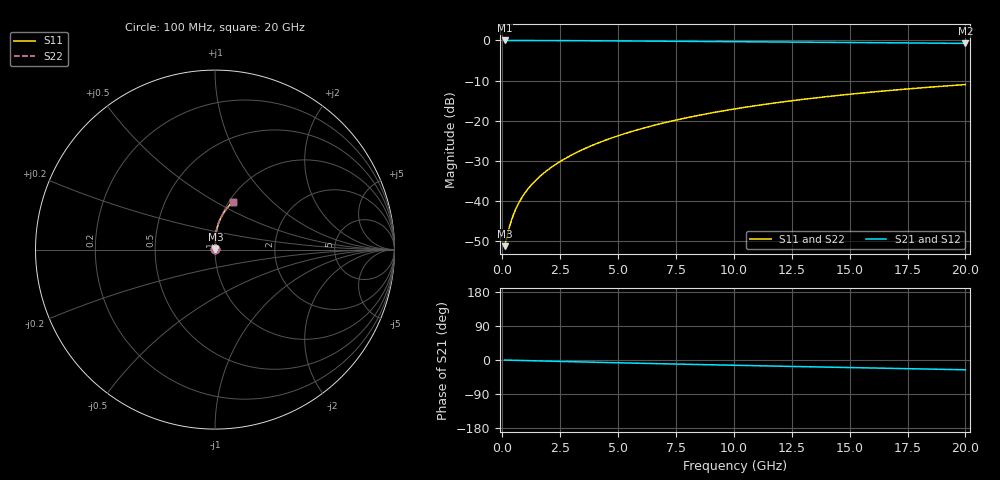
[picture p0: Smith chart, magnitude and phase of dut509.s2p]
! Touchstone file exported from HFSS 2024.1.0
!  File:  C:/UserFiles/LocalFiles/RDL_TSV_Batchsim/temp_RDL_top_509_1779679371.aedt
!  Generated:  11:25:21 AM May 25, 2026
!  Design:  RDL_top
!  Project:  temp_RDL_top_509_1779679371
!  Setup:  Setup1
!  Solution:  Sweep
! Variables:
!  dtsv = 10.80580581um
!  hbump = 3um
!  htsv = 52.25um
!  ldown = 100um
!  lrdl = 313.2um
!  p = 40
!  p1 = 57.62um
!  rhole = 1um
!  t = 450um
!  tdown = 3.915915916um
!  trdl = 2.2um
!  wdown = 15.38538539um
!  wrdl = 24.94um
# GHz S MA R 50.000000
! Terminal data exported
! Port[1] = Box2_T1
! Port[2] = Box2_T2
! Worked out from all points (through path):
!   200 points, 100 MHz to 20 GHz, reference 50 ohm
!   highest |S21| = -0.02 dB at 100 MHz (marker M1); lowest = -0.7 dB at 20 GHz (marker M2)
!   group delay of S21, straight-line fit = 3.55 ps
!   lowest |S11| = -51.2 dB at 100 MHz (marker M3), VSWR 1.01, Z = 50.2 + j0.134 ohm
!   |S11| at or under -10 dB: start of sweep to end of sweep
!   |S22| runs from -51.2 to -11.0 dB; largest |S21 - S12| = 7.5e-15
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0.1  0.002747 29.0  0.9976 -0.2  0.9976 -0.2  0.002747 29.0
! Gamma 0 0 0 0
! Port Impedance 50 0 50 0
0.3  0.004676 57.7  0.9974 -0.5  0.9974 -0.5  0.004676 57.7
0.4  0.005824 63.9  0.9973 -0.6  0.9973 -0.6  0.005824 63.8
0.5  0.006996 67.9  0.9971 -0.8  0.9971 -0.8  0.006996 67.9
0.6  0.008173 70.8  0.997 -0.9  0.997 -0.9  0.008172 70.7
0.8  0.01052 74.7  0.9967 -1.2  0.9967 -1.2  0.01052 74.6
1.1  0.01405 78.3  0.9963 -1.7  0.9963 -1.7  0.01404 78.3
1.5  0.01879 81.4  0.9956 -2.3  0.9956 -2.3  0.01879 81.4
1.8  0.02242 83.0  0.995 -2.7  0.995 -2.7  0.02242 83.0
2.1  0.0261 84.2  0.9943 -3.2  0.9943 -3.2  0.0261 84.2
2.7  0.03367 85.9  0.9928 -4.1  0.9928 -4.1  0.03367 85.9
3.5  0.04416 87.2  0.9903 -5.2  0.9903 -5.2  0.04416 87.2
4.2  0.0537 87.7  0.9879 -6.2  0.9879 -6.2  0.0537 87.7
5  0.06497 87.8  0.9849 -7.4  0.9849 -7.4  0.06497 87.8
5.9  0.07802 87.4  0.9812 -8.6  0.9812 -8.6  0.07802 87.4
6.8  0.09136 86.8  0.9775 -9.8  0.9775 -9.8  0.09137 86.8
8.4  0.1155 85.2  0.9706 -11.9  0.9706 -11.9  0.1155 85.2
10.1  0.1413 83.1  0.9632 -14.0  0.9632 -14.0  0.1413 83.1
11.7  0.1654 80.9  0.9562 -16.0  0.9562 -16.0  0.1654 80.9
13.4  0.1905 78.6  0.9486 -18.1  0.9486 -18.1  0.1905 78.6
16.7  0.2376 74.1  0.9333 -22.0  0.9333 -22.0  0.2376 74.1
20  0.282 69.8  0.9174 -25.8  0.9174 -25.8  0.282 69.8
